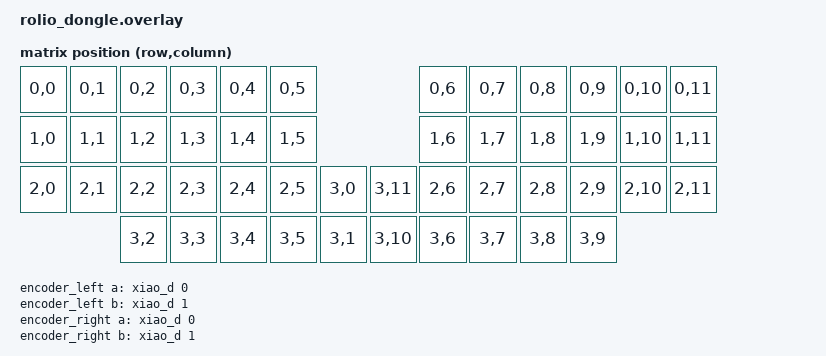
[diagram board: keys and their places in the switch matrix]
#include <dt-bindings/zmk/matrix_transform.h>
#include "rolio46-layout.dtsi"

&rolio46_layout {
    kscan = <&kscan0>;
    transform = <&default_transform>;
};

/ {
    chosen {
        zmk,physical-layout = &rolio46_layout;
        zmk,kscan = &kscan0;
        zmk,matrix-transform = &default_transform;
    };

    default_transform: keymap_transform_0 {
        compatible = "zmk,matrix-transform";
        columns = <14>;
        rows = <4>;
        map = <
RC(0,0) RC(0,1) RC(0,2) RC(0,3) RC(0,4) RC(0,5)                    RC(0,6) RC(0,7) RC(0,8) RC(0,9) RC(0,10) RC(0,11)
RC(1,0) RC(1,1) RC(1,2) RC(1,3) RC(1,4) RC(1,5)                    RC(1,6) RC(1,7) RC(1,8) RC(1,9) RC(1,10) RC(1,11)
RC(2,0) RC(2,1) RC(2,2) RC(2,3) RC(2,4) RC(2,5) RC(3,0)   RC(3,11) RC(2,6) RC(2,7) RC(2,8) RC(2,9) RC(2,10) RC(2,11)
                RC(3,2) RC(3,3) RC(3,4) RC(3,5) RC(3,1)   RC(3,10) RC(3,6) RC(3,7) RC(3,8) RC(3,9)
        >;
    };

    kscan0: kscan {
        compatible = "zmk,kscan-mock";
        events = <0>;
    };

    /* Dummy encoder stubs — no physical encoders on the dongle.
     * These exist solely so ZMK_KEYMAP_HAS_SENSORS=1 on the central,
     * which enables the split sensor notification subscription.
     * D0/D1 are the only free pins; pull-ups keep them stable so they
     * never fire spurious events. */
    encoder_left: encoder_left {
        compatible = "alps,ec11";
        a-gpios = <&xiao_d 0 (GPIO_ACTIVE_HIGH | GPIO_PULL_UP)>;
        b-gpios = <&xiao_d 1 (GPIO_ACTIVE_HIGH | GPIO_PULL_UP)>;
        steps = <60>;
        status = "okay";
    };

    encoder_right: encoder_right {
        compatible = "alps,ec11";
        a-gpios = <&xiao_d 0 (GPIO_ACTIVE_HIGH | GPIO_PULL_UP)>;
        b-gpios = <&xiao_d 1 (GPIO_ACTIVE_HIGH | GPIO_PULL_UP)>;
        steps = <60>;
        status = "okay";
    };

    sensors: sensors {
        compatible = "zmk,keymap-sensors";
        sensors = <&encoder_left &encoder_right>;
        triggers-per-rotation = <15>;
    };
};
